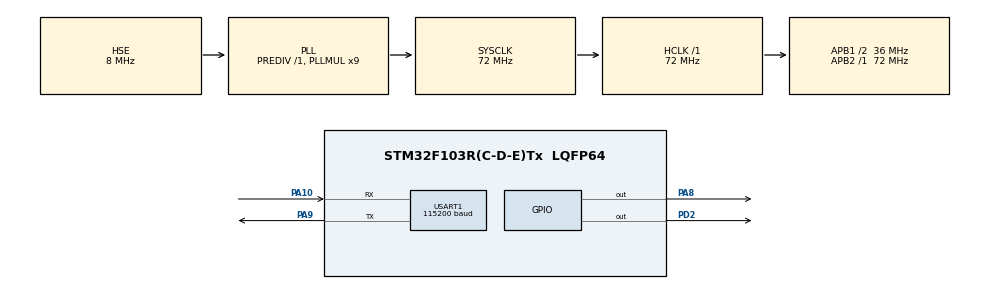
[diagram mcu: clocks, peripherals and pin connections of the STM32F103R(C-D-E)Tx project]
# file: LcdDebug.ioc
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Mcu.Family=STM32F1
Mcu.Name=STM32F103R(C-D-E)Tx
Mcu.Package=LQFP64
NVIC.PriorityGroup=NVIC_PRIORITYGROUP_4
PA10.Mode=Asynchronous
PA10.Signal=USART1_RX
PA13.Mode=Serial_Wire
PA13.Signal=SYS_JTMS-SWDIO
PA14.Mode=Serial_Wire
PA14.Signal=SYS_JTCK-SWCLK
PA8.Signal=GPIO_Output
PA9.Mode=Asynchronous
PA9.Signal=USART1_TX
PD0-OSC_IN.Mode=HSE-External-Oscillator
PD0-OSC_IN.Signal=RCC_OSC_IN
PD1-OSC_OUT.Mode=HSE-External-Oscillator
PD1-OSC_OUT.Signal=RCC_OSC_OUT
PD2.Signal=GPIO_Output
ProjectManager.HeapSize=0x200
ProjectManager.StackSize=0x400
ProjectManager.TargetToolchain=MDK-ARM V5
RCC.AHBFreq_Value=72000000
RCC.APB1CLKDivider=RCC_HCLK_DIV2
RCC.APB1Freq_Value=36000000
RCC.APB1TimFreq_Value=72000000
RCC.APB2Freq_Value=72000000
RCC.APB2TimFreq_Value=72000000
RCC.HCLKFreq_Value=72000000
RCC.PLLMUL=RCC_PLL_MUL9
RCC.PLLSourceVirtual=RCC_PLLSOURCE_HSE
RCC.SYSCLKFreq_VALUE=72000000
RCC.SYSCLKSource=RCC_SYSCLKSOURCE_PLLCLK
RCC.USBFreq_Value=72000000
USART1.BaudRate=115200
USART1.VirtualMode=VM_ASYNC
board=custom

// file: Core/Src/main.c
/* USER CODE BEGIN Header */
/**
  ******************************************************************************
  * @file           : main.c
  * @brief          : Main program body
  ******************************************************************************
  * @attention
  *
  * Copyright (c) 2023 STMicroelectronics.
  * All rights reserved.
  *
  * This software is licensed under terms that can be found in the LICENSE file
  * in the root directory of this software component.
  * If no LICENSE file comes with this software, it is provided AS-IS.
  *
  ******************************************************************************
  */
/* USER CODE END Header */
#include "main.h"
#include "usart.h"
#include "gpio.h"

/* USER CODE BEGIN Includes */
#include <stdio.h>
#include <string.h>
#include "LCD/lcd.h"
#include "LCD/delay.h"

/* USER CODE END Includes */

/* USER CODE BEGIN PD */

#define LOG_Y_INCREMENT 16

/* USER CODE END PD */

/* USER CODE BEGIN PV */
// max: 18. WILL OVERFLOW IF WENT OUT OF BOUND
int lineNum = 0;
char buf[128] = {0};
/* USER CODE END PV */

void SystemClock_Config(void);
/* USER CODE BEGIN PFP */

/**
 * @brief         : Appends a log message to the LCD screen. Main goal of this project.
 * @param level   : Severity of the event. 0 -> Verbose(white), 1 -> Info(blue), 2 -> Warning(yellow), 3 -> Error(red), 4 -> Fatal(white on red)
 * @param msg     : Message to be displayed. 116 characters max.
*/
void log(uint8_t level, char msg[]);

/* USER CODE END PFP */

int main(void)
{

  /* MCU Configuration--------------------------------------------------------*/

  /* Reset of all peripherals, Initializes the Flash interface and the Systick. */
  HAL_Init();

  /* Configure the system clock */
  SystemClock_Config();

  /* Initialize all configured peripherals */
  MX_GPIO_Init();
  MX_USART1_UART_Init();
  /* USER CODE BEGIN 2 */
  delay_init(72);
  LCD_Init();

  LCD_DisplayOn();
  LCD_Clear(BLACK);
  BACK_COLOR = BLACK;

  log(1, "LCD boot complete");

  HAL_GPIO_WritePin(GPIOD, GPIO_PIN_2, GPIO_PIN_RESET);
  HAL_GPIO_WritePin(GPIOA, GPIO_PIN_8, GPIO_PIN_SET);

  log(2, "DS1 LED is on. Check status.");

  int i = 0;

  /* USER CODE END 2 */

  /* Infinite loop */
  /* USER CODE BEGIN WHILE */
  while (1)
  {

    HAL_UART_Transmit(&huart1, (uint8_t *) "Testing testing?\n", 18, 0xffff); //To recv: COM6
    HAL_GPIO_TogglePin(GPIOD, GPIO_PIN_2);
    if(i == 16) log(3, "Milti-line long message handling test");
    if(i++ == 12) log(4, "ERROR: Don't want to work any more");
    log(0, "Meaningless log");
    HAL_Delay(1000);
    /* USER CODE END WHILE */

  }
}

void SystemClock_Config(void)
{
  RCC_OscInitTypeDef RCC_OscInitStruct = {0};
  RCC_ClkInitTypeDef RCC_ClkInitStruct = {0};

  /** Initializes the RCC Oscillators according to the specified parameters
  * in the RCC_OscInitTypeDef structure.
  */
  RCC_OscInitStruct.OscillatorType = RCC_OSCILLATORTYPE_HSE;
  RCC_OscInitStruct.HSEState = RCC_HSE_ON;
  RCC_OscInitStruct.HSEPredivValue = RCC_HSE_PREDIV_DIV1;
  RCC_OscInitStruct.HSIState = RCC_HSI_ON;
  RCC_OscInitStruct.PLL.PLLState = RCC_PLL_ON;
  RCC_OscInitStruct.PLL.PLLSource = RCC_PLLSOURCE_HSE;
  RCC_OscInitStruct.PLL.PLLMUL = RCC_PLL_MUL9;
  if (HAL_RCC_OscConfig(&RCC_OscInitStruct) != HAL_OK)
  {
    Error_Handler();
  }

  /** Initializes the CPU, AHB and APB buses clocks
  */
  RCC_ClkInitStruct.ClockType = RCC_CLOCKTYPE_HCLK|RCC_CLOCKTYPE_SYSCLK
                              |RCC_CLOCKTYPE_PCLK1|RCC_CLOCKTYPE_PCLK2;
  RCC_ClkInitStruct.SYSCLKSource = RCC_SYSCLKSOURCE_PLLCLK;
  RCC_ClkInitStruct.AHBCLKDivider = RCC_SYSCLK_DIV1;
  RCC_ClkInitStruct.APB1CLKDivider = RCC_HCLK_DIV2;
  RCC_ClkInitStruct.APB2CLKDivider = RCC_HCLK_DIV1;

  if (HAL_RCC_ClockConfig(&RCC_ClkInitStruct, FLASH_LATENCY_2) != HAL_OK)
  {
    Error_Handler();
  }
}

/* USER CODE BEGIN 4 */
void log(uint8_t level, char msg[]) {
  HAL_GPIO_WritePin(GPIOA, GPIO_PIN_8, GPIO_PIN_RESET);
  //TODO: Overflow handler
  if(lineNum >= 18) { // 18 lines already present
    for(int8_t l = (strlen(msg) + 11) / 37; l >= 0; l--) {
      for(uint16_t i = 10 + LOG_Y_INCREMENT; i < 289; i += LOG_Y_INCREMENT) {
        LCD_Fill(10, i - LOG_Y_INCREMENT - 4, 240, i, BLACK);
        for(uint16_t j = 10; j < 230; j++) {
          for(uint16_t k = 0; k < 12; k++) {
            LCD_Fast_DrawPoint(j, i + k - LOG_Y_INCREMENT, LCD_ReadPoint(j, i + k));
          }
        }
      }
    }
    lineNum = 17 - (strlen(msg) + 11) / 37;
  }
  memset(buf, 0, 128);
  switch(level) {
    case 0: // verbose
      sprintf(buf, "%7.3f[V] %s", HAL_GetTick() / 1000.0,  msg);
      POINT_COLOR = WHITE;
      break;
    case 1: // debug
      sprintf(buf, "%7.3f[D] %s", HAL_GetTick() / 1000.0, msg);
      POINT_COLOR = BLUE;
      break;
    case 2: // warning
      sprintf(buf, "%7.3f[W] %s", HAL_GetTick() / 1000.0, msg);
      POINT_COLOR = YELLOW;
      break;
    case 3: // error
      sprintf(buf, "%7.3f[E] %s", HAL_GetTick() / 1000.0, msg);
      POINT_COLOR = RED;
      break;
    case 4: // fatal
      sprintf(buf, "%7.3f[F] %s", HAL_GetTick() / 1000.0, msg);
      POINT_COLOR = WHITE;
      BACK_COLOR  = RED;
      break;
  }
  LCD_ShowString(10, 10 + lineNum * LOG_Y_INCREMENT, 220, LOG_Y_INCREMENT, 12, (uint8_t *)buf);
  lineNum += strlen(buf) / 37 + 1; // line capacity = 37
  BACK_COLOR = BLACK;
  HAL_GPIO_WritePin(GPIOA, GPIO_PIN_8, GPIO_PIN_SET);
}
/* USER CODE END 4 */

void Error_Handler(void)
{
  __disable_irq();
  while (1)
  {
  }
}
